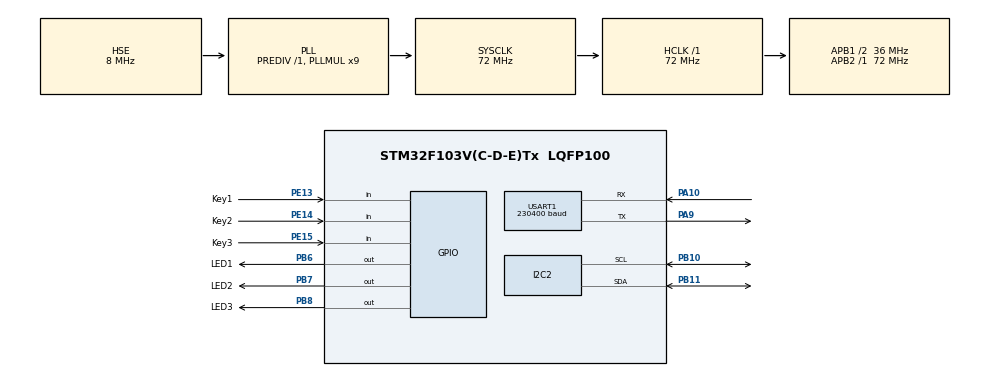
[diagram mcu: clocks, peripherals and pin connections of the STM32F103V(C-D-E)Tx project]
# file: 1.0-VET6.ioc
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Dma.I2C2_TX.0.Direction=DMA_MEMORY_TO_PERIPH
Dma.I2C2_TX.0.Instance=DMA1_Channel4
Dma.I2C2_TX.0.MemDataAlignment=DMA_MDATAALIGN_BYTE
Dma.I2C2_TX.0.MemInc=DMA_MINC_ENABLE
Dma.I2C2_TX.0.Mode=DMA_NORMAL
Dma.I2C2_TX.0.PeriphDataAlignment=DMA_PDATAALIGN_BYTE
Dma.I2C2_TX.0.PeriphInc=DMA_PINC_DISABLE
Dma.I2C2_TX.0.Priority=DMA_PRIORITY_HIGH
Dma.Request0=I2C2_TX
Dma.Request1=USART1_RX
Dma.USART1_RX.1.Direction=DMA_PERIPH_TO_MEMORY
Dma.USART1_RX.1.Instance=DMA1_Channel5
Dma.USART1_RX.1.MemDataAlignment=DMA_MDATAALIGN_BYTE
Dma.USART1_RX.1.MemInc=DMA_MINC_ENABLE
Dma.USART1_RX.1.Mode=DMA_CIRCULAR
Dma.USART1_RX.1.PeriphDataAlignment=DMA_PDATAALIGN_BYTE
Dma.USART1_RX.1.PeriphInc=DMA_PINC_DISABLE
Dma.USART1_RX.1.Priority=DMA_PRIORITY_MEDIUM
I2C2.DutyCycle=I2C_DUTYCYCLE_2
I2C2.I2C_Mode=I2C_Fast
Mcu.Family=STM32F1
Mcu.Name=STM32F103V(C-D-E)Tx
Mcu.Package=LQFP100
NVIC.DMA1_Channel4_IRQn=true\:0\:0\:true\:false\:true\:false\:true\:true
NVIC.DMA1_Channel5_IRQn=true\:0\:0\:false\:false\:true\:false\:true\:true
NVIC.I2C2_ER_IRQn=true\:0\:0\:false\:false\:true\:true\:true\:true
NVIC.I2C2_EV_IRQn=true\:0\:0\:false\:false\:true\:true\:true\:true
NVIC.PriorityGroup=NVIC_PRIORITYGROUP_4
NVIC.TIM2_IRQn=true\:0\:0\:false\:false\:true\:true\:true\:true
OSC_IN.Mode=HSE-External-Oscillator
OSC_IN.Signal=RCC_OSC_IN
OSC_OUT.Mode=HSE-External-Oscillator
OSC_OUT.Signal=RCC_OSC_OUT
PA10.Mode=Asynchronous
PA10.Signal=USART1_RX
PA13.Mode=Serial_Wire
PA13.Signal=SYS_JTMS-SWDIO
PA14.Mode=Serial_Wire
PA14.Signal=SYS_JTCK-SWCLK
PA9.Mode=Asynchronous
PA9.Signal=USART1_TX
PB10.Mode=I2C
PB10.Signal=I2C2_SCL
PB11.Mode=I2C
PB11.Signal=I2C2_SDA
PB6.GPIO_Label=LED1
PB6.GPIO_Speed=GPIO_SPEED_FREQ_HIGH
PB6.Signal=GPIO_Output
PB7.GPIO_Label=LED2
PB7.GPIO_Speed=GPIO_SPEED_FREQ_HIGH
PB7.Signal=GPIO_Output
PB8.GPIO_Label=LED3
PB8.GPIO_Speed=GPIO_SPEED_FREQ_HIGH
PB8.Signal=GPIO_Output
PC14-OSC32_IN.Mode=LSE-External-Oscillator
PC14-OSC32_IN.Signal=RCC_OSC32_IN
PC15-OSC32_OUT.Mode=LSE-External-Oscillator
PC15-OSC32_OUT.Signal=RCC_OSC32_OUT
PE13.GPIO_Label=Key1
PE13.GPIO_PuPd=GPIO_PULLUP
PE13.Signal=GPIO_Input
PE14.GPIO_Label=Key2
PE14.GPIO_PuPd=GPIO_PULLUP
PE14.Signal=GPIO_Input
PE15.GPIO_Label=Key3
PE15.GPIO_PuPd=GPIO_PULLUP
PE15.Signal=GPIO_Input
ProjectManager.HeapSize=0x200
ProjectManager.StackSize=0x400
ProjectManager.TargetToolchain=MDK-ARM V5.32
RCC.AHBFreq_Value=72000000
RCC.APB1CLKDivider=RCC_HCLK_DIV2
RCC.APB1Freq_Value=36000000
RCC.APB1TimFreq_Value=72000000
RCC.APB2Freq_Value=72000000
RCC.APB2TimFreq_Value=72000000
RCC.HCLKFreq_Value=72000000
RCC.PLLMUL=RCC_PLL_MUL9
RCC.PLLSourceVirtual=RCC_PLLSOURCE_HSE
RCC.SYSCLKFreq_VALUE=72000000
RCC.SYSCLKSource=RCC_SYSCLKSOURCE_PLLCLK
RCC.USBFreq_Value=72000000
TIM2.Period=1000-1
TIM2.Prescaler=72-1
USART1.BaudRate=230400
USART1.VirtualMode=VM_ASYNC
VP_TIM2_VS_ClockSourceINT.Mode=Internal
board=custom

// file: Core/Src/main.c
/* USER CODE BEGIN Header */
/**
 ******************************************************************************
 * @file           : main.c
 * @brief          : Main program body
 ******************************************************************************
 * @attention
 *
 * Copyright (c) 2026 STMicroelectronics.
 * All rights reserved.
 *
 * This software is licensed under terms that can be found in the LICENSE file
 * in the root directory of this software component.
 * If no LICENSE file comes with this software, it is provided AS-IS.
 *
 ******************************************************************************
 */
/* USER CODE END Header */
#include "main.h"
#include "dma.h"
#include "i2c.h"
#include "tim.h"
#include "usart.h"
#include "gpio.h"

/* USER CODE BEGIN Includes */
#include "OLED.h"
#include "math.h"
#include "KEY.h"
#include "Circular.h"
/* USER CODE END Includes */

/* USER CODE BEGIN PV */
CircularBuffer *buf;
/* USER CODE END PV */

void SystemClock_Config(void);

int main(void)
{

  /* USER CODE BEGIN 1 */
  buf = (CircularBuffer *)malloc(sizeof(CircularBuffer));
  /* USER CODE END 1 */

  /* MCU Configuration--------------------------------------------------------*/

  /* Reset of all peripherals, Initializes the Flash interface and the Systick. */
  HAL_Init();

  /* Configure the system clock */
  SystemClock_Config();

  /* Initialize all configured peripherals */
  MX_GPIO_Init();
  MX_DMA_Init();
  MX_USART1_UART_Init();
  MX_I2C2_Init();
  MX_TIM2_Init();
  /* USER CODE BEGIN 2 */
  HAL_TIM_Base_Start_IT(&htim2);
  OLED_Init();
  OLED_Clear();
  OLED_Update();
  circular_buffer_init(buf, RingBuffer, BUFFER_LEN);
  HAL_UART_Receive_DMA(&huart1, RingBuffer, BUFFER_LEN);
  /* USER CODE END 2 */

  /* Infinite loop */
  while (1)
  {

    /* USER CODE BEGIN 3 */

    for (int i = 0; i < 8; i++)
    {
      while (circular_Read_Size(buf, 128, OLED_DisplayBuf[i], 0) != 0);
      if (i == 7)
        OLED_Update();
    }

  }
  /* USER CODE END 3 */
}

void SystemClock_Config(void)
{
  RCC_OscInitTypeDef RCC_OscInitStruct = {0};
  RCC_ClkInitTypeDef RCC_ClkInitStruct = {0};

  /** Initializes the RCC Oscillators according to the specified parameters
   * in the RCC_OscInitTypeDef structure.
   */
  RCC_OscInitStruct.OscillatorType = RCC_OSCILLATORTYPE_HSE;
  RCC_OscInitStruct.HSEState = RCC_HSE_ON;
  RCC_OscInitStruct.HSEPredivValue = RCC_HSE_PREDIV_DIV1;
  RCC_OscInitStruct.HSIState = RCC_HSI_ON;
  RCC_OscInitStruct.PLL.PLLState = RCC_PLL_ON;
  RCC_OscInitStruct.PLL.PLLSource = RCC_PLLSOURCE_HSE;
  RCC_OscInitStruct.PLL.PLLMUL = RCC_PLL_MUL9;
  if (HAL_RCC_OscConfig(&RCC_OscInitStruct) != HAL_OK)
  {
    Error_Handler();
  }

  /** Initializes the CPU, AHB and APB buses clocks
   */
  RCC_ClkInitStruct.ClockType = RCC_CLOCKTYPE_HCLK | RCC_CLOCKTYPE_SYSCLK | RCC_CLOCKTYPE_PCLK1 | RCC_CLOCKTYPE_PCLK2;
  RCC_ClkInitStruct.SYSCLKSource = RCC_SYSCLKSOURCE_PLLCLK;
  RCC_ClkInitStruct.AHBCLKDivider = RCC_SYSCLK_DIV1;
  RCC_ClkInitStruct.APB1CLKDivider = RCC_HCLK_DIV2;
  RCC_ClkInitStruct.APB2CLKDivider = RCC_HCLK_DIV1;

  if (HAL_RCC_ClockConfig(&RCC_ClkInitStruct, FLASH_LATENCY_2) != HAL_OK)
  {
    Error_Handler();
  }
}

/* USER CODE BEGIN 4 */
void HAL_TIM_PeriodElapsedCallback(TIM_HandleTypeDef *htim)
{
  if (htim->Instance == TIM2)
  {
		circular_Write(buf);
    KEY_Tick();
  }
}
/* USER CODE END 4 */

void Error_Handler(void)
{
  __disable_irq();
  while (1)
  {
  }
}
